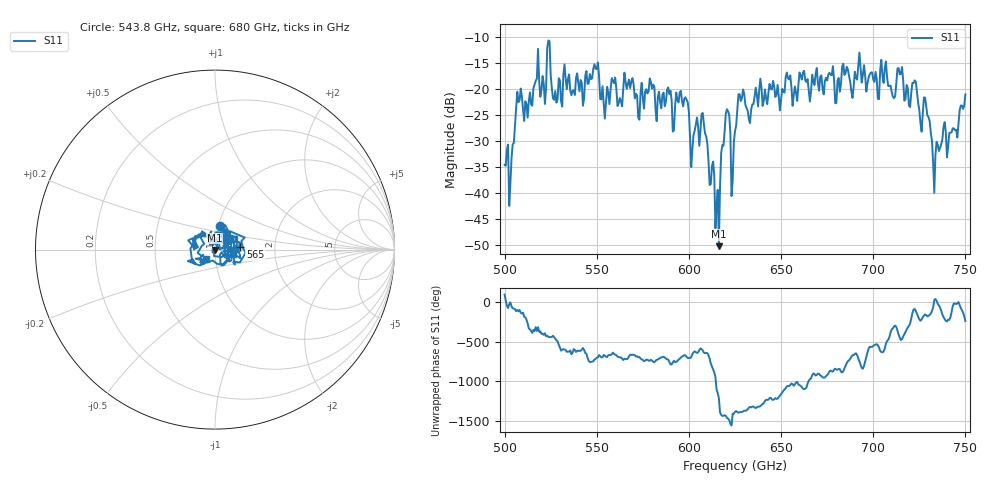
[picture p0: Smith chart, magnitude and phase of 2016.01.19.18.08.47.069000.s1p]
!Created with skrf (http://scikit-rf.org).
# GHz S RI R 50.0
!freq ReS11 ImS11
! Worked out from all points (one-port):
!   401 points, 500 GHz to 750 GHz, reference 50 ohm
!   lowest |S11| = -50.2 dB at 616.2 GHz (marker M1), VSWR 1.01, Z = 49.8 - j0.227 ohm
!   |S11| at or under -10 dB: start of sweep to end of sweep
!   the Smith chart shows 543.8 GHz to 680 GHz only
!   S11 on the Smith chart (normalised r, x): 543.8 GHz: 1.02, +0.27; 565 GHz: 1.33, +0.04; 680 GHz: 0.90, -0.10
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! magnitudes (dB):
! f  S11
! 500 GHz  -34.6
! 503.8 GHz  -33.4
! 508.1 GHz  -22.2
! 523.8 GHz  -10.7
! 526.9 GHz  -22.1
! 531.2 GHz  -23.4
! 543.8 GHz  -17.5
! 549.4 GHz  -16.2
! 553.1 GHz  -19.5
! 562.5 GHz  -21.8
! 565 GHz  -16.9
! 593.8 GHz  -22.2
! 598.8 GHz  -22.1
! 601.9 GHz  -31.7
! 608.1 GHz  -26.8
! 616.2 GHz  -50.2
! 620.6 GHz  -23.9
! 623.8 GHz  -37.5
! 625 GHz  -28.1
! 628.1 GHz  -22.3
! 656.2 GHz  -23.3
! 680 GHz  -22.7
! 687.5 GHz  -18.7
! 714.4 GHz  -17.3
! 718.8 GHz  -19.9
! 728.8 GHz  -23.4
! 733.8 GHz  -32.7
! 750 GHz  -21.1
